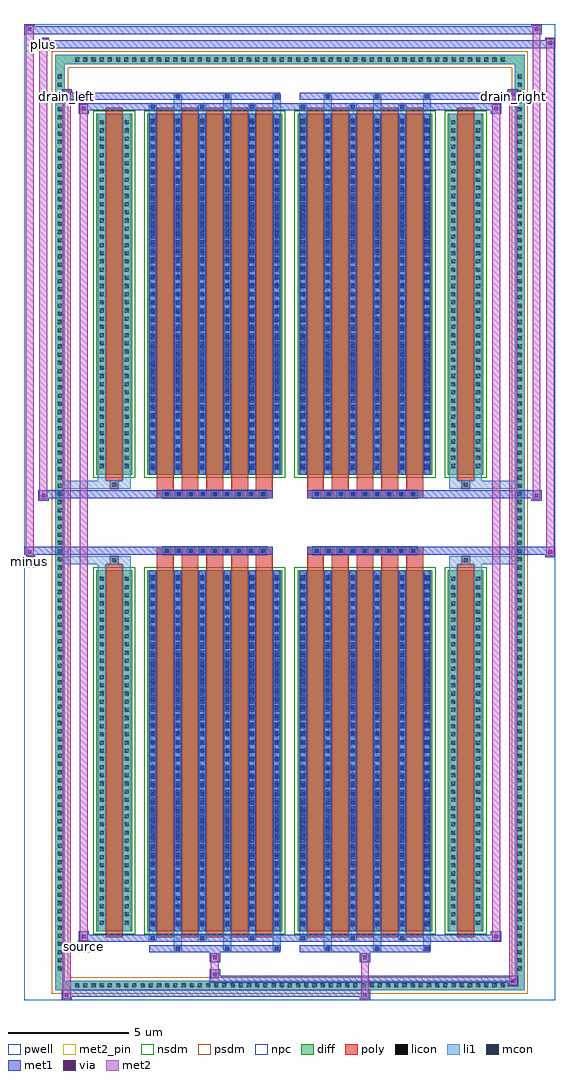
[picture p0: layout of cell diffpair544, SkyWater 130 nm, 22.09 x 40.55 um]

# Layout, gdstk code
import gdstk
lib = gdstk.Library(unit=1e-6, precision=5e-09)
def R(c, l, rs):  # rectangles x0, y0, x1, y1
    for r in rs: c.add(gdstk.rectangle(r[:2], r[2:], *l))
def A(c, l, x, y, w, h, nx, ny, dx, dy):  # array of equal rectangles
    R(c, l, [(x+i*dx, y+j*dy, x+i*dx+w, y+j*dy+h) for i in range(nx) for j in range(ny)])
def P(c, l, *ps):  # polygons
    for p in ps: c.add(gdstk.Polygon(p, *l))
pwell = (64, 44)
diff = (65, 20)
poly = (66, 20)
licon = (66, 44)
li1 = (67, 20)
mcon = (67, 44)
met1 = (68, 20)
via = (68, 44)
met2_pin = (69, 16)
met2 = (69, 20)
nsdm = (93, 44)
psdm = (94, 20)
npc = (95, 20)

diffpair544 = lib.new_cell('diffpair544')
R(diffpair544, pwell, [(-11.03,-19.84,11.03,20.71), (-8.35,-18.03,-0.01,-0.805), (0.01,-18.03,8.35,-0.805), (-8.35,0.805,-0.01,18.03), (0.01,0.805,8.35,18.03)])
A(diffpair544, diff, -9.045, -19.44, 0.41, 0.41, 53, 2, 0.34, 38.47)
A(diffpair544, diff, -9.76, -18.735, 0.41, 0.41, 1, 110, 0, 0.34)
A(diffpair544, diff, 9.35, -18.735, 0.41, 0.41, 1, 110, 0, 0.34)
R(diffpair544, diff, [(-9.045,-19.44,9.045,-19.03), (-9.76,-18.735,-9.35,18.735), (9.35,-18.735,9.76,18.735), (-8.04,-16.985,-6.56,-1.985), (-5.92,-16.985,-0.32,-1.985), (0.32,-16.985,5.92,-1.985), (6.56,-16.985,8.04,-1.985), (-8.04,1.985,-6.56,16.985), (-5.92,1.985,-0.32,16.985), (0.32,1.985,5.92,16.985), (6.56,1.985,8.04,16.985), (-9.045,19.03,9.045,19.44)])
P(diffpair544, diff, [(9.76,19.44),(-9.76,19.44),(-9.76,-19.03),(-9.35,-19.03),(-9.35,19.03),(9.35,19.03),(9.35,-19.03),(-9.35,-19.03),(-9.76,-19.03),(-9.76,-19.44),(9.76,-19.44)])
A(diffpair544, poly, -5.53, -17.235, 0.7, 15.5, 5, 2, 1.03, 18.97)
A(diffpair544, poly, 0.71, -17.235, 0.7, 15.5, 5, 2, 1.03, 18.97)
A(diffpair544, poly, -5.53, -1.735, 0.7, 0.4, 5, 2, 1.03, 3.07)
A(diffpair544, poly, 0.71, -1.735, 0.7, 0.4, 5, 2, 1.03, 3.07)
A(diffpair544, poly, -5.285, -1.335, 0.33, 0.33, 9, 2, 0.5, 2.34)
A(diffpair544, poly, 0.955, -1.335, 0.33, 0.33, 9, 2, 0.5, 2.34)
R(diffpair544, poly, [(-7.65,-17.235,-6.95,-1.735), (6.95,-17.235,7.65,-1.735), (-7.465,-1.735,-7.135,-1.405), (-7.465,-1.735,-7.135,-1.405), (7.135,-1.735,7.465,-1.405), (7.135,-1.735,7.465,-1.405), (-5.53,-1.335,-0.71,-1.005), (0.71,-1.335,5.53,-1.005), (-5.53,1.005,-0.71,1.335), (0.71,1.005,5.53,1.335), (-7.465,1.405,-7.135,1.735), (-7.465,1.405,-7.135,1.735), (7.135,1.405,7.465,1.735), (7.135,1.405,7.465,1.735), (-7.65,1.735,-6.95,17.235), (6.95,1.735,7.65,17.235)])
A(diffpair544, licon, -8.925, -19.32, 0.17, 0.17, 53, 2, 0.34, 38.47)
A(diffpair544, licon, -9.64, -18.615, 0.17, 0.17, 1, 110, 0, 0.34)
A(diffpair544, licon, 9.47, -18.615, 0.17, 0.17, 1, 110, 0, 0.34)
A(diffpair544, licon, -7.9, -16.71, 0.17, 0.17, 1, 43, 0, 0.34)
A(diffpair544, licon, -6.87, -16.71, 0.17, 0.17, 1, 43, 0, 0.34)
A(diffpair544, licon, -5.78, -16.71, 0.17, 0.17, 6, 43, 1.03, 0.34)
A(diffpair544, licon, 0.46, -16.71, 0.17, 0.17, 6, 43, 1.03, 0.34)
A(diffpair544, licon, 6.7, -16.71, 0.17, 0.17, 1, 43, 0, 0.34)
A(diffpair544, licon, 7.73, -16.71, 0.17, 0.17, 1, 43, 0, 0.34)
A(diffpair544, licon, -5.205, -1.255, 0.17, 0.17, 9, 2, 0.5, 2.34)
A(diffpair544, licon, 1.035, -1.255, 0.17, 0.17, 9, 2, 0.5, 2.34)
A(diffpair544, licon, -7.9, 2.26, 0.17, 0.17, 1, 43, 0, 0.34)
A(diffpair544, licon, -6.87, 2.26, 0.17, 0.17, 1, 43, 0, 0.34)
A(diffpair544, licon, -5.78, 2.26, 0.17, 0.17, 6, 43, 1.03, 0.34)
A(diffpair544, licon, 0.46, 2.26, 0.17, 0.17, 6, 43, 1.03, 0.34)
A(diffpair544, licon, 6.7, 2.26, 0.17, 0.17, 1, 43, 0, 0.34)
A(diffpair544, licon, 7.73, 2.26, 0.17, 0.17, 1, 43, 0, 0.34)
R(diffpair544, licon, [(-7.385,-1.655,-7.215,-1.485), (7.215,-1.655,7.385,-1.485), (-7.385,1.485,-7.215,1.655), (7.215,1.485,7.385,1.655)])
A(diffpair544, li1, -9.005, -19.4, 0.33, 0.33, 53, 2, 0.34, 38.47)
A(diffpair544, li1, -9.72, -18.695, 0.33, 0.33, 1, 110, 0, 0.34)
A(diffpair544, li1, 9.39, -18.695, 0.33, 0.33, 1, 110, 0, 0.34)
A(diffpair544, li1, -4.83, -17.79, 0.33, 0.805, 3, 2, 2.06, 34.775)
A(diffpair544, li1, -4.75, -17.79, 0.17, 0.17, 3, 2, 2.06, 35.41)
A(diffpair544, li1, 1.41, -17.79, 0.33, 0.805, 3, 2, 2.06, 34.775)
A(diffpair544, li1, 1.49, -17.79, 0.17, 0.17, 3, 2, 2.06, 35.41)
A(diffpair544, li1, -5.86, -17.36, 0.33, 0.375, 3, 2, 2.06, 34.345)
A(diffpair544, li1, -5.78, -17.36, 0.17, 0.17, 3, 2, 2.06, 34.55)
A(diffpair544, li1, 0.38, -17.36, 0.33, 0.375, 3, 2, 2.06, 34.345)
A(diffpair544, li1, 0.46, -17.36, 0.17, 0.17, 3, 2, 2.06, 34.55)
A(diffpair544, li1, -5.86, -16.985, 0.33, 15, 6, 2, 1.03, 18.97)
A(diffpair544, li1, 0.38, -16.985, 0.33, 15, 6, 2, 1.03, 18.97)
A(diffpair544, li1, -7.98, -16.79, 0.33, 0.33, 1, 43, 0, 0.34)
A(diffpair544, li1, -6.95, -16.79, 0.33, 0.33, 1, 43, 0, 0.34)
A(diffpair544, li1, -5.86, -16.79, 0.33, 0.33, 6, 43, 1.03, 0.34)
A(diffpair544, li1, 0.38, -16.79, 0.33, 0.33, 6, 43, 1.03, 0.34)
A(diffpair544, li1, 6.62, -16.79, 0.33, 0.33, 1, 43, 0, 0.34)
A(diffpair544, li1, 7.65, -16.79, 0.33, 0.33, 1, 43, 0, 0.34)
A(diffpair544, li1, -5.78, -16.77, 0.17, 0.17, 6, 41, 1.03, 0.36)
A(diffpair544, li1, -5.78, -16.77, 0.17, 14.57, 6, 2, 1.03, 18.97)
A(diffpair544, li1, 0.46, -16.77, 0.17, 0.17, 6, 41, 1.03, 0.36)
A(diffpair544, li1, 0.46, -16.77, 0.17, 14.57, 6, 2, 1.03, 18.97)
A(diffpair544, li1, -5.285, -1.335, 0.33, 0.33, 9, 2, 0.5, 2.34)
A(diffpair544, li1, 0.955, -1.335, 0.33, 0.33, 9, 2, 0.5, 2.34)
A(diffpair544, li1, -7.98, 2.18, 0.33, 0.33, 1, 43, 0, 0.34)
A(diffpair544, li1, -6.95, 2.18, 0.33, 0.33, 1, 43, 0, 0.34)
A(diffpair544, li1, -5.86, 2.18, 0.33, 0.33, 6, 43, 1.03, 0.34)
A(diffpair544, li1, 0.38, 2.18, 0.33, 0.33, 6, 43, 1.03, 0.34)
A(diffpair544, li1, 6.62, 2.18, 0.33, 0.33, 1, 43, 0, 0.34)
A(diffpair544, li1, 7.65, 2.18, 0.33, 0.33, 1, 43, 0, 0.34)
A(diffpair544, li1, -5.78, 2.2, 0.17, 0.17, 6, 41, 1.03, 0.36)
A(diffpair544, li1, 0.46, 2.2, 0.17, 0.17, 6, 41, 1.03, 0.36)
R(diffpair544, li1, [(-9.76,-19.44,-9.35,-19.03), (-9.76,-19.44,-9.35,-19.03), (-9.35,-19.44,9.35,-19.03), (9.35,-19.44,9.76,-19.03), (9.35,-19.44,9.76,-19.03), (-9.76,-19.03,-9.35,19.03), (9.35,-19.03,9.76,19.03), (-7.98,-16.985,-7.65,-1.985), (-6.95,-16.985,-6.62,-1.985), (6.62,-16.985,6.95,-1.985), (7.65,-16.985,7.98,-1.985), (-7.98,-1.985,-7.65,-1.405), (-6.95,-1.985,-6.62,-1.405), (6.62,-1.985,6.95,-1.405), (7.65,-1.985,7.98,-1.405), (-9.76,-1.735,-7.465,-1.405), (-7.98,-1.735,-7.465,-1.405), (-7.465,-1.735,-7.135,-1.405), (-7.135,-1.735,-6.62,-1.405), (6.62,-1.735,7.135,-1.405), (7.135,-1.735,7.465,-1.405), (7.135,-1.735,9.76,-1.405), (7.465,-1.735,7.98,-1.405), (-9.76,1.405,-7.465,1.735), (-7.98,1.405,-7.465,1.735), (-7.98,1.405,-7.65,1.985), (-7.465,1.405,-7.135,1.735), (-7.135,1.405,-6.62,1.735), (-6.95,1.405,-6.62,1.985), (6.62,1.405,7.135,1.735), (6.62,1.405,6.95,1.985), (7.135,1.405,7.465,1.735), (7.135,1.405,9.76,1.735), (7.465,1.405,7.98,1.735), (7.65,1.405,7.98,1.985), (-7.98,1.985,-7.65,16.985), (-6.95,1.985,-6.62,16.985), (6.62,1.985,6.95,16.985), (7.65,1.985,7.98,16.985), (-9.76,19.03,-9.35,19.44), (-9.76,19.03,-9.35,19.44), (-9.35,19.03,9.35,19.44), (9.35,19.03,9.76,19.44), (9.35,19.03,9.76,19.44)])
A(diffpair544, mcon, -4.75, -17.79, 0.17, 0.17, 3, 2, 2.06, 35.41)
A(diffpair544, mcon, 1.49, -17.79, 0.17, 0.17, 3, 2, 2.06, 35.41)
A(diffpair544, mcon, -5.78, -17.36, 0.17, 0.17, 3, 2, 2.06, 34.55)
A(diffpair544, mcon, 0.46, -17.36, 0.17, 0.17, 3, 2, 2.06, 34.55)
A(diffpair544, mcon, -5.78, -16.77, 0.17, 0.17, 6, 41, 1.03, 0.36)
A(diffpair544, mcon, 0.46, -16.77, 0.17, 0.17, 6, 41, 1.03, 0.36)
A(diffpair544, mcon, -5.205, -1.255, 0.17, 0.17, 9, 2, 0.5, 2.34)
A(diffpair544, mcon, 1.035, -1.255, 0.17, 0.17, 9, 2, 0.5, 2.34)
A(diffpair544, mcon, -5.78, 2.2, 0.17, 0.17, 6, 41, 1.03, 0.36)
A(diffpair544, mcon, 0.46, 2.2, 0.17, 0.17, 6, 41, 1.03, 0.36)
A(diffpair544, met1, -4.81, -17.85, 0.29, 0.29, 3, 2, 2.06, 35.41)
A(diffpair544, met1, 1.43, -17.85, 0.29, 0.29, 3, 2, 2.06, 35.41)
A(diffpair544, met1, -5.84, -17.42, 0.29, 0.29, 3, 2, 2.06, 34.55)
A(diffpair544, met1, 0.4, -17.42, 0.29, 0.29, 3, 2, 2.06, 34.55)
A(diffpair544, met1, -5.84, -16.985, 0.29, 15, 6, 2, 1.03, 18.97)
A(diffpair544, met1, 0.4, -16.985, 0.29, 15, 6, 2, 1.03, 18.97)
A(diffpair544, met1, -5.84, -16.83, 0.29, 0.29, 6, 41, 1.03, 0.36)
A(diffpair544, met1, 0.4, -16.83, 0.29, 0.29, 6, 41, 1.03, 0.36)
A(diffpair544, met1, -5.265, -1.315, 0.29, 0.29, 9, 2, 0.5, 2.34)
A(diffpair544, met1, 0.975, -1.315, 0.29, 0.29, 9, 2, 0.5, 2.34)
A(diffpair544, met1, -5.84, 2.14, 0.29, 0.29, 6, 41, 1.03, 0.36)
A(diffpair544, met1, 0.4, 2.14, 0.29, 0.29, 6, 41, 1.03, 0.36)
R(diffpair544, met1, [(-9.49,-19.84,-9.06,-19.41), (2.905,-19.84,3.335,-19.41), (-9.49,-19.7,3.335,-19.41), (9.06,-19.27,9.49,-18.84), (-3.335,-19.13,9.49,-18.84), (-3.335,-18.99,-2.905,-18.56), (-3.335,-18.28,-2.905,-17.85), (2.905,-18.28,3.335,-17.85), (-5.84,-17.85,-0.4,-17.56), (0.4,-17.85,5.84,-17.56), (-8.78,-17.42,-8.35,-16.99), (-8.78,-17.42,-5.84,-17.13), (-5.84,-17.42,-0.4,-17.13), (-0.4,-17.42,0.4,-17.13), (0.4,-17.42,5.84,-17.13), (5.84,-17.42,8.78,-17.13), (8.35,-17.42,8.78,-16.99), (-11.03,-1.435,-10.6,-1.005), (10.6,-1.435,11.03,-1.005), (-11.03,-1.335,-0.71,-1.005), (-5.53,-1.335,-0.71,-1.005), (0.71,-1.335,5.53,-1.005), (0.71,-1.335,11.03,-1.005), (-10.46,0.905,-10.03,1.335), (10.03,0.905,10.46,1.335), (-10.46,1.005,-5.53,1.335), (-5.53,1.005,-0.71,1.335), (0.71,1.005,5.53,1.335), (5.53,1.005,10.46,1.335), (-8.78,16.99,-8.35,17.42), (8.35,16.99,8.78,17.42), (-8.78,17.13,-5.84,17.42), (-5.84,17.13,-0.4,17.42), (-0.4,17.13,0.4,17.42), (0.4,17.13,5.84,17.42), (5.84,17.13,8.78,17.42), (-9.49,17.56,-9.06,17.99), (-9.49,17.56,-5.84,17.85), (-5.84,17.56,-0.4,17.85), (0.4,17.56,5.84,17.85), (5.84,17.56,9.49,17.85), (9.06,17.56,9.49,17.99), (-10.46,19.71,-10.03,20.14), (-10.46,19.71,-8.35,20.04), (-8.35,19.71,8.35,20.04), (8.35,19.71,11.03,20.04), (10.6,19.71,11.03,20.14), (-11.03,20.28,-10.6,20.71), (-11.03,20.28,-8.35,20.61), (-8.35,20.28,8.35,20.61), (8.35,20.28,10.46,20.61), (10.03,20.28,10.46,20.71)])
R(diffpair544, via, [(-9.35,-19.7,-9.2,-19.55), (3.045,-19.7,3.195,-19.55), (9.2,-19.13,9.35,-18.98), (-3.195,-18.85,-3.045,-18.7), (-3.195,-18.14,-3.045,-17.99), (3.045,-18.14,3.195,-17.99), (-8.64,-17.28,-8.49,-17.13), (8.49,-17.28,8.64,-17.13), (-10.89,-1.295,-10.74,-1.145), (10.74,-1.295,10.89,-1.145), (-10.32,1.045,-10.17,1.195), (10.17,1.045,10.32,1.195), (-8.64,17.13,-8.49,17.28), (8.49,17.13,8.64,17.28), (-9.35,17.7,-9.2,17.85), (9.2,17.7,9.35,17.85), (-10.32,19.85,-10.17,20), (10.74,19.85,10.89,20), (-10.89,20.42,-10.74,20.57), (10.17,20.42,10.32,20.57)])
R(diffpair544, met2_pin, [(-8.815,-17.87,-8.315,-17.37), (-11.065,-1.885,-10.565,-1.385), (-9.525,17.44,-9.025,17.94), (9.025,17.44,9.525,17.94), (-10.495,19.59,-9.995,20.09)])
R(diffpair544, met2, [(-9.44,-19.79,-9.11,-19.46), (-9.44,-19.79,-9.11,17.94), (2.955,-19.79,3.285,-19.46), (2.955,-19.46,3.285,-18.23), (9.11,-19.22,9.44,-18.89), (9.11,-19.22,9.44,17.94), (-3.285,-18.94,-2.955,-18.61), (-3.285,-18.61,-2.955,-18.23), (-3.285,-18.23,-2.955,-17.9), (2.955,-18.23,3.285,-17.9), (-8.73,-17.37,-8.4,-17.04), (-8.73,-17.37,-8.4,17.37), (8.4,-17.37,8.73,-17.04), (8.4,-17.37,8.73,17.37), (-10.98,-1.385,-10.65,-1.055), (-10.98,-1.385,-10.65,20.66), (10.65,-1.385,10.98,-1.055), (10.65,-1.385,10.98,20.09), (-10.41,0.955,-10.08,1.285), (-10.41,0.955,-10.08,20.09), (10.08,0.955,10.41,1.285), (10.08,0.955,10.41,20.66), (-8.73,17.04,-8.4,17.37), (8.4,17.04,8.73,17.37), (-9.44,17.61,-9.11,17.94), (9.11,17.61,9.44,17.94), (-10.41,19.76,-10.08,20.09), (10.65,19.76,10.98,20.09), (-10.98,20.33,-10.65,20.66), (10.08,20.33,10.41,20.66)])
P(diffpair544, met2, [(10.98,-1.385),(10.98,-1.385),(10.98,-1.055),(10.98,-1.055)],
  [(10.98,19.76),(10.98,19.76),(10.98,20.09),(10.98,20.09)],
  [(-10.65,-1.385),(-10.65,-1.385),(-10.65,-1.055),(-10.65,-1.055)],
  [(-10.65,20.33),(-10.65,20.33),(-10.65,20.66),(-10.65,20.66)],
  [(10.41,0.955),(10.41,0.955),(10.41,1.285),(10.41,1.285)],
  [(10.41,20.33),(10.41,20.33),(10.41,20.66),(10.41,20.66)],
  [(-10.08,0.955),(-10.08,0.955),(-10.08,1.285),(-10.08,1.285)],
  [(-10.08,19.76),(-10.08,19.76),(-10.08,20.09),(-10.08,20.09)],
  [(-9.11,-19.79),(-9.11,-19.79),(-9.11,-19.46),(-9.11,-19.46)],
  [(-9.11,17.61),(-9.11,17.61),(-9.11,17.94),(-9.11,17.94)],
  [(9.44,-19.22),(9.44,-19.22),(9.44,-18.89),(9.44,-18.89)],
  [(9.44,17.61),(9.44,17.61),(9.44,17.94),(9.44,17.94)],
  [(-8.4,-17.37),(-8.4,-17.37),(-8.4,-17.04),(-8.4,-17.04)],
  [(-8.4,17.04),(-8.4,17.04),(-8.4,17.37),(-8.4,17.37)],
  [(8.73,-17.37),(8.73,-17.37),(8.73,-17.04),(8.73,-17.04)],
  [(8.73,17.04),(8.73,17.04),(8.73,17.37),(8.73,17.37)])
R(diffpair544, nsdm, [(-8.17,-17.115,-6.43,-1.855), (-6.05,-17.115,-0.19,-1.855), (0.19,-17.115,6.05,-1.855), (6.43,-17.115,8.17,-1.855), (-8.17,1.855,-6.43,17.115), (-6.05,1.855,-0.19,17.115), (0.19,1.855,6.05,17.115), (6.43,1.855,8.17,17.115)])
P(diffpair544, psdm, [(9.89,19.57),(-9.89,19.57),(-9.89,-18.9),(-9.22,-18.9),(-9.22,18.9),(9.22,18.9),(9.22,-18.9),(-9.22,-18.9),(-9.89,-18.9),(-9.89,-19.57),(9.89,-19.57)])
A(diffpair544, npc, -5.305, -1.355, 0.37, 0.37, 9, 2, 0.5, 2.34)
A(diffpair544, npc, 0.935, -1.355, 0.37, 0.37, 9, 2, 0.5, 2.34)
R(diffpair544, npc, [(-7.485,-1.755,-7.115,-1.385), (7.115,-1.755,7.485,-1.385), (-5.305,-1.355,-4.435,-0.985), (-5.305,-1.355,-4.435,-0.985), (-4.805,-1.355,-3.935,-0.985), (-4.805,-1.355,-3.935,-0.985), (-4.305,-1.355,-3.435,-0.985), (-4.305,-1.355,-3.435,-0.985), (-3.805,-1.355,-2.935,-0.985), (-3.805,-1.355,-2.935,-0.985), (-3.305,-1.355,-2.435,-0.985), (-3.305,-1.355,-2.435,-0.985), (-2.805,-1.355,-1.935,-0.985), (-2.805,-1.355,-1.935,-0.985), (-2.305,-1.355,-1.435,-0.985), (-2.305,-1.355,-1.435,-0.985), (-1.805,-1.355,-0.935,-0.985), (-1.805,-1.355,-0.935,-0.985), (0.935,-1.355,1.805,-0.985), (0.935,-1.355,1.805,-0.985), (1.435,-1.355,2.305,-0.985), (1.435,-1.355,2.305,-0.985), (1.935,-1.355,2.805,-0.985), (1.935,-1.355,2.805,-0.985), (2.435,-1.355,3.305,-0.985), (2.435,-1.355,3.305,-0.985), (2.935,-1.355,3.805,-0.985), (2.935,-1.355,3.805,-0.985), (3.435,-1.355,4.305,-0.985), (3.435,-1.355,4.305,-0.985), (3.935,-1.355,4.805,-0.985), (3.935,-1.355,4.805,-0.985), (4.435,-1.355,5.305,-0.985), (4.435,-1.355,5.305,-0.985), (-5.305,0.985,-4.435,1.355), (-5.305,0.985,-4.435,1.355), (-4.805,0.985,-3.935,1.355), (-4.805,0.985,-3.935,1.355), (-4.305,0.985,-3.435,1.355), (-4.305,0.985,-3.435,1.355), (-3.805,0.985,-2.935,1.355), (-3.805,0.985,-2.935,1.355), (-3.305,0.985,-2.435,1.355), (-3.305,0.985,-2.435,1.355), (-2.805,0.985,-1.935,1.355), (-2.805,0.985,-1.935,1.355), (-2.305,0.985,-1.435,1.355), (-2.305,0.985,-1.435,1.355), (-1.805,0.985,-0.935,1.355), (-1.805,0.985,-0.935,1.355), (0.935,0.985,1.805,1.355), (0.935,0.985,1.805,1.355), (1.435,0.985,2.305,1.355), (1.435,0.985,2.305,1.355), (1.935,0.985,2.805,1.355), (1.935,0.985,2.805,1.355), (2.435,0.985,3.305,1.355), (2.435,0.985,3.305,1.355), (2.935,0.985,3.805,1.355), (2.935,0.985,3.805,1.355), (3.435,0.985,4.305,1.355), (3.435,0.985,4.305,1.355), (3.935,0.985,4.805,1.355), (3.935,0.985,4.805,1.355), (4.435,0.985,5.305,1.355), (4.435,0.985,5.305,1.355), (-7.485,1.385,-7.115,1.755), (7.115,1.385,7.485,1.755)])
diffpair544.add(gdstk.Label('minus', (-10.815,-1.635), layer=69, texttype=5))
diffpair544.add(gdstk.Label('drain_right', (9.275,17.69), layer=69, texttype=5))
diffpair544.add(gdstk.Label('drain_left', (-9.275,17.69), layer=69, texttype=5))
diffpair544.add(gdstk.Label('source', (-8.565,-17.62), layer=69, texttype=5))
diffpair544.add(gdstk.Label('plus', (-10.245,19.84), layer=69, texttype=5))

lib.write_gds('diffpair544.gds')
